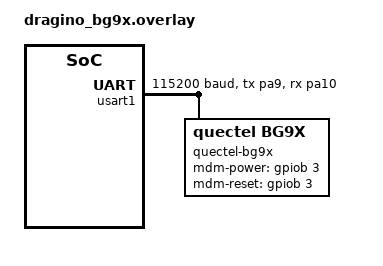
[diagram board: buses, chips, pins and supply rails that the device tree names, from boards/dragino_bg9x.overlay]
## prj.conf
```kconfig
# UART support
CONFIG_SERIAL=y

# GSM modem support
CONFIG_MODEM=y
CONFIG_MODEM_GSM_PPP=y
CONFIG_MODEM_GSM_APN="iot.1nce.net"
CONFIG_MODEM_GSM_UART_NAME="UART_1"

# PPP networking support
CONFIG_NET_PPP=y
CONFIG_NET_L2_PPP=y
CONFIG_NET_NATIVE=y
CONFIG_NETWORKING=y

CONFIG_NET_L2_PPP_TIMEOUT=10000

# IPv4 enables PPP IPCP support
CONFIG_NET_IPV4=y
CONFIG_NET_IPV6=n

# Network management events
CONFIG_NET_CONNECTION_MANAGER=y

# Log buffers, modem and PPP
CONFIG_LOG=y
CONFIG_NET_LOG=y
CONFIG_LOG_BUFFER_SIZE=16384
CONFIG_LOG_STRDUP_BUF_COUNT=200
CONFIG_MODEM_LOG_LEVEL_DBG=y
CONFIG_NET_PPP_LOG_LEVEL_DBG=y
CONFIG_NET_L2_PPP_LOG_LEVEL_DBG=y
CONFIG_NET_MGMT_EVENT_LOG_LEVEL_DBG=y
CONFIG_NET_CONNECTION_MANAGER_LOG_LEVEL_DBG=y

# Shells
CONFIG_NET_SHELL=y
CONFIG_MODEM_SHELL=y

# To compile
CONFIG_TEST_RANDOM_GENERATOR=y

# Offloaded BG9x
#CONFIG_MODEM_QUECTEL_BG9X=y
#CONFIG_MODEM_QUECTEL_BG9X_APN="iot.1nce.net"
#CONFIG_NET_SOCKETS=y
#CONFIG_MODEM_CONTEXT_VERBOSE_DEBUG=y

CONFIG_NET_NATIVE=y
CONFIG_NET_TCP=y
CONFIG_DNS_RESOLVER=y
#CONFIG_UART_MUX=y
#CONFIG_GSM_MUX=y
```

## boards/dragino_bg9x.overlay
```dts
&usart1 {
	status = "okay";
	current-speed = <115200>;

	/* UART Pin info. */
	pinctrl-0 = <&usart1_tx_pa9 &usart1_rx_pa10>;

	label = "UART_1";

	/* BG9x description. */
	quectel_bg9x {
		compatible = "quectel,bg9x";
		label      = "quectel-bg9x";
		status     = "okay";

		mdm-power-gpios = <&gpiob 3 GPIO_ACTIVE_HIGH>;
		mdm-reset-gpios = <&gpiob 3 GPIO_ACTIVE_HIGH>;
	};
};
```

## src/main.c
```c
/*
 * Copyright (c) 2020, Intel Corporation
 *
 * SPDX-License-Identifier: Apache-2.0
 */

#include <zephyr.h>
#include <sys/printk.h>
#include <shell/shell.h>
#include <drivers/uart.h>
#include <net/net_mgmt.h>
#include <net/net_event.h>
#include <net/net_conn_mgr.h>
#include <drivers/gsm_ppp.h>
#include <drivers/gpio.h>

#include <logging/log.h>
LOG_MODULE_REGISTER(sample_gsm_ppp, LOG_LEVEL_DBG);

static const struct device *gsm_dev;
static struct net_mgmt_event_callback mgmt_cb;
static bool connected;
static bool starting = true;

#if CONFIG_MODEM_GSM_PPP
static int cmd_sample_modem_suspend(const struct shell *shell,
				    size_t argc, char *argv[])
{
	if (!connected) {
		shell_fprintf(shell, SHELL_NORMAL, "Not connected.\n");
		return -ENOEXEC;
	}

	gsm_ppp_stop(gsm_dev);

	return 0;
}

static int cmd_sample_modem_resume(const struct shell *shell,
				   size_t argc, char *argv[])
{
	if (starting) {
		shell_fprintf(shell, SHELL_NORMAL,
			      "Please wait for network connection.\n");
		return -ENOEXEC;
	}

	if (connected) {
		shell_fprintf(shell, SHELL_NORMAL, "Already connected.\n");
		return -ENOEXEC;
	}

	gsm_ppp_start(gsm_dev);

	return 0;
}

SHELL_STATIC_SUBCMD_SET_CREATE(sample_commands,
	SHELL_CMD(resume, NULL,
		  "Resume the modem\n",
		  cmd_sample_modem_resume),
	SHELL_CMD(suspend, NULL,
		  "Suspend the modem\n",
		  cmd_sample_modem_suspend),
	SHELL_SUBCMD_SET_END
);

SHELL_CMD_REGISTER(sample, &sample_commands,
		   "Sample application commands", NULL);
#endif

static void event_handler(struct net_mgmt_event_callback *cb,
			  uint32_t mgmt_event, struct net_if *iface)
{
	if ((mgmt_event & (NET_EVENT_L4_CONNECTED
			   | NET_EVENT_L4_DISCONNECTED)) != mgmt_event) {
		return;
	}

	starting = false;

	if (mgmt_event == NET_EVENT_L4_CONNECTED) {
		LOG_INF("Network connected");
		connected = true;
		return;
	}

	if (mgmt_event == NET_EVENT_L4_DISCONNECTED) {
		LOG_INF("Network disconnected");
		connected = false;
		return;
	}
}

int main(void)
{
#if CONFIG_MODEM_GSM_PPP
	const struct device *uart_dev =
				device_get_binding(CONFIG_MODEM_GSM_UART_NAME);

	gsm_dev = device_get_binding(GSM_MODEM_DEVICE_NAME);

	LOG_INF("Resetting modem");
	const struct device *dev = device_get_binding("GPIOB");
	gpio_pin_configure(dev, 3, GPIO_OUTPUT);
	gpio_pin_set(dev, 3, 1);
	k_msleep(3000);
	gpio_pin_set(dev, 3, 0);

	LOG_INF("Board '%s' APN '%s' UART '%s' device %p (%s)",
		CONFIG_BOARD, CONFIG_MODEM_GSM_APN,
		CONFIG_MODEM_GSM_UART_NAME, uart_dev, GSM_MODEM_DEVICE_NAME);
#endif

	net_mgmt_init_event_callback(&mgmt_cb, event_handler,
				     NET_EVENT_L4_CONNECTED |
				     NET_EVENT_L4_DISCONNECTED);
	net_mgmt_add_event_callback(&mgmt_cb);

	while(1) {
		LOG_INF("Main");
		k_msleep(5000);
	}

	return 0;
}
```
